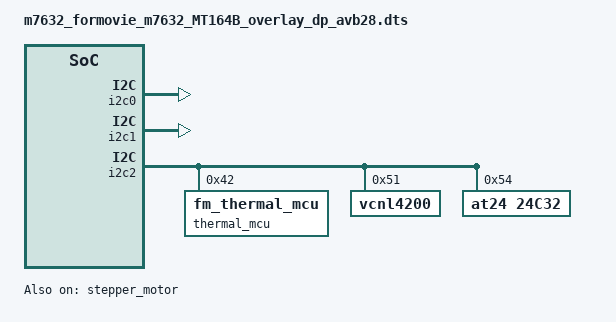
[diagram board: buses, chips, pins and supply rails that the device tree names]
/dts-v1/;
/plugin/;
/include/ "overlay_avb_SysAsRoot.dtsi"

&i2c0 {
	iic-mode = <1>;     /* i2c-mode: 0:swi2c; 1:hwi2c */
	bus-index = <0>;    /* swi2c setting: bus index */
	sda-gpio = <82>;    /* swi2c setting: sda pad */
	scl-gpio = <81>;    /* swi2c setting: scl pad */
	def-delay = <100>;  /* swi2c setting: clk */
	hw-port = <0>;      /* hwi2c setting: port */
	pad-mux = <1>;     /* hwi2c setting: pad mux */
	speed-khz = <100>;  /* hwi2c setting: clk */
	retries = <5>;      /* Unused */
	status = "okay";    /* Unused */
};
&i2c1 {
	iic-mode = <1>;     /* i2c-mode: 0:swi2c; 1:hwi2c */
	bus-index = <2>;    /* swi2c setting: bus index */
	sda-gpio = <55>;   /* swi2c setting: sda pad */
	scl-gpio = <54>;   /* swi2c setting: scl pad */
	def-delay = <100>;  /* swi2c setting: clk */
	hw-port = <3>;      /* hwi2c setting: port */
	pad-mux = <25>;      /* hwi2c setting: pad mux */
	speed-khz = <100>;  /* hwi2c setting: clk */
	retries = <5>;      /* Unused */
	status = "okay";    /* Unused */
};
&i2c2 {
	iic-mode = <1>;     /* i2c-mode: 0:swi2c; 1:hwi2c */
	bus-index = <2>;    /* swi2c setting: bus index */
	sda-gpio = <64>;   /* swi2c setting: sda pad */
	scl-gpio = <63>;   /* swi2c setting: scl pad */
	def-delay = <100>;  /* swi2c setting: clk */
	hw-port = <2>;      /* hwi2c setting: port */
	pad-mux = <19>;      /* hwi2c setting: pad mux */
	speed-khz = <100>;  /* hwi2c setting: clk */
	retries = <5>;      /* Unused */
	status = "okay";    /* Unused */

	thermal_mcu: thermal_mcu@42 {
		compatible = "fm_thermal_mcu";
		status = "okay";
		reg = <0x42>;
	};
	vcnl4200: vcnl4200@51{
		compatible = "vcnl4200";
		status = "okay";
		reg = <0x51>;
	};
	at24: at24@54 {
		compatible = "at24,24c32";
		status = "okay";
		reg = <0x54>;
	};
};

&mmc_host_sdio {
	sdio-padmux = <0>;
};

&stepper_motor {
	compatible = "formovie, stepper_motor";
	status = "okay";
};

&ehci_2 {
	utmi,eye-param = /bits/ 8 <0x22 0x02 0x00 0x81>;
};

